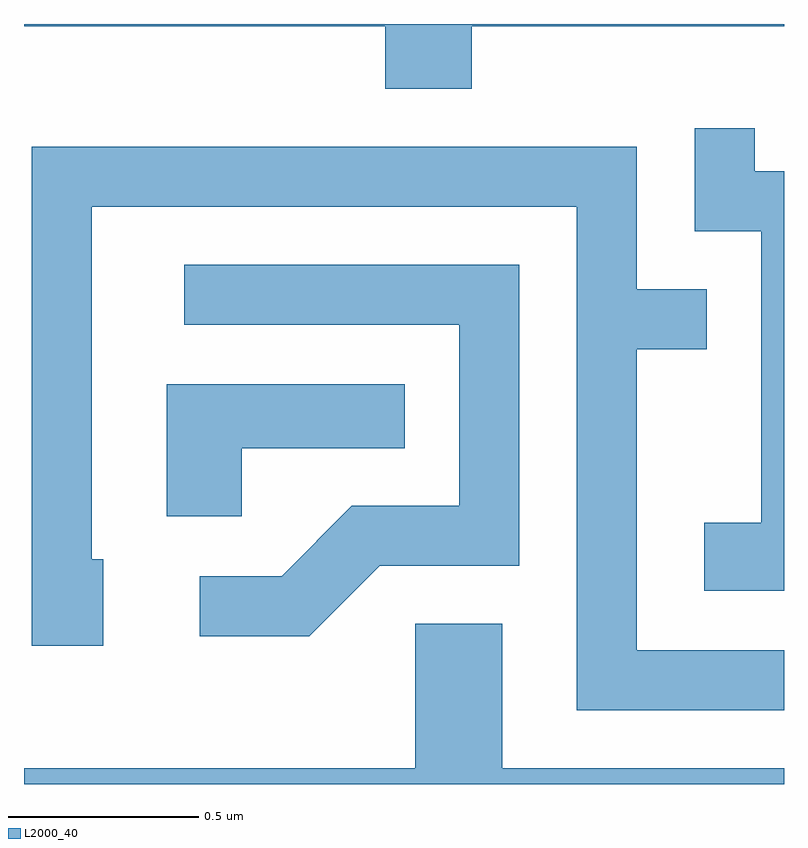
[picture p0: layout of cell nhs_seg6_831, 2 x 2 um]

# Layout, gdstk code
import gdstk
lib = gdstk.Library(unit=1e-6, precision=1e-09)
def P(c, l, *ps):  # polygons
    for p in ps: c.add(gdstk.Polygon(p, *l))
L2000_40 = (2000, 40)

nhs_seg6_831 = lib.new_cell('nhs_seg6_831')
P(nhs_seg6_831, L2000_40, [(192.789,1541.156),(193.611,1541.156),(193.611,1541.162),(191.611,1541.162),(191.611,1541.156),(192.561,1541.156),(192.561,1540.991),(192.789,1540.991)],
  [(193.611,1540.774),(193.534,1540.774),(193.534,1540.888),(193.376,1540.888),(193.376,1540.616),(193.551,1540.616),(193.551,1539.849),(193.401,1539.849),(193.401,1539.671),(193.611,1539.671)],
  [(193.611,1539.514),(193.224,1539.514),(193.224,1540.306),(193.408,1540.306),(193.408,1540.464),(193.224,1540.464),(193.224,1540.839),(191.631,1540.839),(191.631,1539.526),(191.819,1539.526),(191.819,1539.754),(191.789,1539.754),(191.789,1540.681),(193.066,1540.681),(193.066,1539.356),(193.611,1539.356)],
  [(192.547,1539.736),(192.914,1539.736),(192.914,1540.529),(192.033,1540.529),(192.033,1540.371),(192.756,1540.371),(192.756,1539.894),(192.474,1539.894),(192.289,1539.709),(192.073,1539.709),(192.073,1539.551),(192.362,1539.551)],
  [(192.184,1540.046),(192.613,1540.046),(192.613,1540.214),(191.986,1540.214),(191.986,1539.866),(192.184,1539.866)],
  [(193.611,1539.204),(192.869,1539.204),(192.869,1539.584),(192.641,1539.584),(192.641,1539.204),(191.611,1539.204),(191.611,1539.162),(193.611,1539.162)])

lib.write_gds('nhs_seg6_831.gds')
